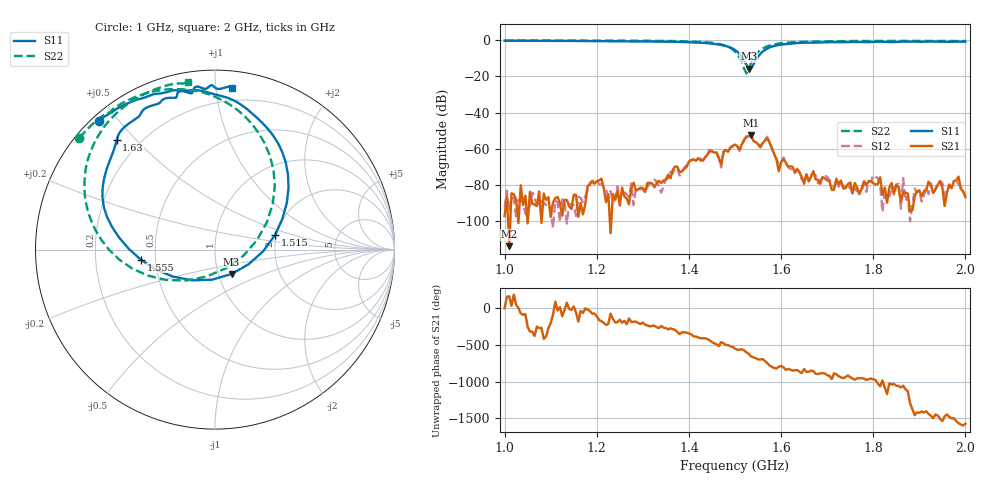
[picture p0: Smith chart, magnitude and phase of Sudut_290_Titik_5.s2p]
# Hz S RI R 50
! CMT, C1220, 16058040, 17.2.0/1
! Date: 14/08/2018 11:50:47
! Data: Format (Calibration Info)
! Freq  S11: Re/Im (F2)  S21: Re/Im (F2)  S12: Re/Im (F2)  S22: Re/Im (F2)
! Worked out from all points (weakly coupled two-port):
!   201 points, 1 GHz to 2 GHz, reference 50 ohm
!   highest |S21| = -52.42 dB at 1.535 GHz (marker M1); lowest = -113.8 dB at 1.01 GHz (marker M2)
!   lowest |S11| = -15.7 dB at 1.53 GHz (marker M3), VSWR 1.39, Z = 57.7 - j16.1 ohm
!   |S11| at or under -10 dB: 1.517 GHz to 1.548 GHz (31.13 MHz wide, 2.03 % of centre)
!   |S22| runs from -18.4 to -0.2 dB; largest |S21 - S12| = 0.00024
!   S11 on the Smith chart (normalised r, x): 1 GHz: 0.02, +0.44; 1.515 GHz: 1.96, +0.35; 1.555 GHz: 0.41, -0.06; 1.63 GHz: 0.12, +0.44; 2 GHz: 0.11, +1.11
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1e9  -0.6484 0.7146  1.38e-05 -9.68e-07  7.81e-06 -2.3e-05  -0.7554 0.6238
1.01e9  -0.6351 0.7243  -1.91e-06 7.14e-07  -1.92e-05 -6.98e-07  -0.7482 0.6319
1.17e9  -0.4701 0.8217  5.46e-06 -1.44e-05  1.34e-05 -3.1e-05  -0.6186 0.7503
1.335e9  -0.2077 0.8864  8.72e-06 0.000128  1.32e-05 9.08e-05  -0.4016 0.8655
1.445e9  0.1576 0.7986  0.000138 -0.000831  0.000134 -0.000936  -0.0107 0.8561
1.47e9  0.2934 0.6739  -8.35e-05 -0.00035  -8.82e-05 -0.000289  0.1646 0.7438
1.475e9  0.324 0.6357  -0.00041 -0.000717  -0.000361 -0.000724  0.2029 0.7032
1.5e9  0.4098 0.3454  -0.00128 0.000279  -0.00116 0.000313  0.3331 0.3531
1.515e9  0.3335 0.0798  -0.00125 0.000501  -0.00119 0.000426  0.2342 0.053
1.53e9  0.0919 -0.136  -0.000279 0.00218  -0.000318 0.00213  -0.0487 -0.1506
1.535e9  -0.0155 -0.1675  0.00114 0.0021  0.0011 0.00212  -0.162 -0.1724
1.555e9  -0.4134 -0.0558  0.00104 0.000357  0.00106 0.000415  -0.5329 -0.0561
1.57e9  -0.5728 0.1246  0.0017 -0.000929  0.00188 -0.00102  -0.6669 0.1103
1.595e9  -0.618 0.3956  5.03e-05 -0.000234  4.12e-05 -0.000347  -0.7272 0.3434
1.605e9  -0.5924 0.4799  5.18e-05 -0.000511  3.58e-05 -0.000571  -0.7248 0.4129
1.63e9  -0.5476 0.613  -0.000129 -0.000174  -0.000175 -0.000162  -0.6951 0.5421
1.65e9  -0.5005 0.6864  -3.81e-05 -0.000101  -6.57e-05 -0.000113  -0.6614 0.6151
1.67e9  -0.4344 0.7336  -0.000172 -0.000166  -0.000172 -0.00011  -0.6268 0.6709
1.685e9  -0.4134 0.7572  -0.000105 -2.13e-05  -0.000128 -4.5e-05  -0.6026 0.7034
1.8e9  -0.2089 0.8704  -4e-05 0.000105  -5.99e-05 0.000173  -0.4263 0.8492
1.835e9  -0.1382 0.8714  4.81e-05 6.97e-05  2.9e-05 3.78e-05  -0.3786 0.8743
2e9  0.0961 0.9028  -3.07e-05 -3.44e-05  -4.43e-05 -2.5e-05  -0.1526 0.9339
